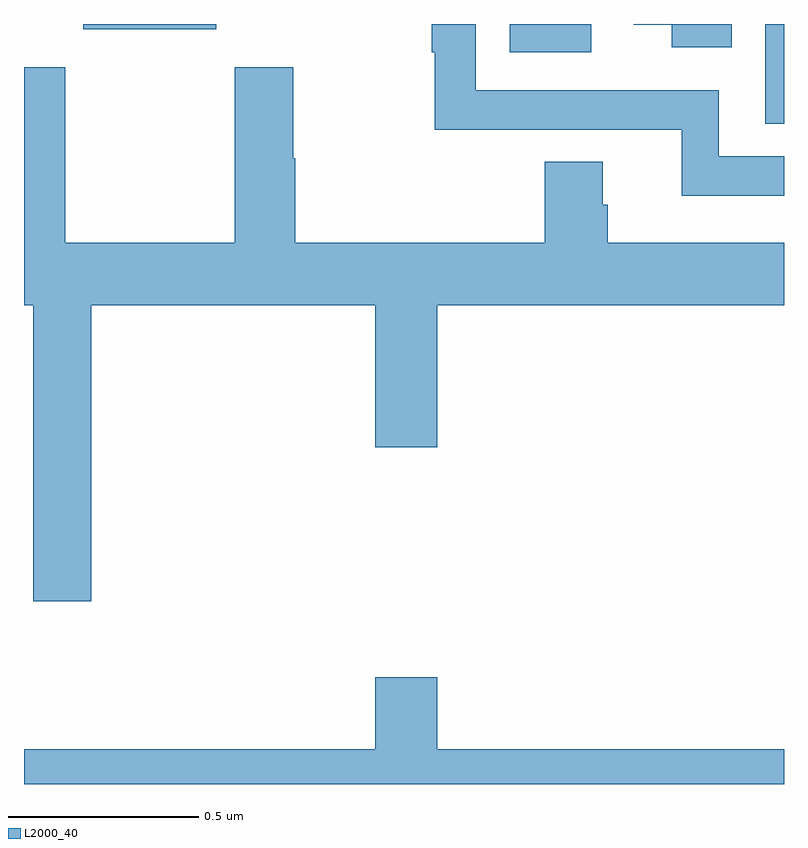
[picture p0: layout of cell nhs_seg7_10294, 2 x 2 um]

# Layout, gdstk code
import gdstk
lib = gdstk.Library(unit=1e-6, precision=1e-09)
def R(c, l, rs):  # rectangles x0, y0, x1, y1
    for r in rs: c.add(gdstk.rectangle(r[:2], r[2:], *l))
def P(c, l, *ps):  # polygons
    for p in ps: c.add(gdstk.Polygon(p, *l))
L2000_40 = (2000, 40)

nhs_seg7_10294 = lib.new_cell('nhs_seg7_10294')
R(nhs_seg7_10294, L2000_40, [(249.951,1023.737,250,1024), (249.278,1023.926,249.493,1024), (248.156,1023.986,248.506,1024)])
P(nhs_seg7_10294, L2000_40, [(249.862,1024),(249.605,1024),(249.605,1023.998),(249.704,1023.998),(249.704,1023.939),(249.862,1023.939)],
  [(250,1023.652),(249.828,1023.652),(249.828,1023.826),(249.189,1023.826),(249.189,1024),(249.073,1024),(249.073,1023.926),(249.081,1023.926),(249.081,1023.722),(249.731,1023.722),(249.731,1023.548),(250,1023.548)],
  [(248.177,1023.26),(248.924,1023.26),(248.924,1022.886),(249.088,1022.886),(249.088,1023.26),(250,1023.26),(250,1023.424),(249.536,1023.424),(249.536,1023.525),(249.523,1023.525),(249.523,1023.637),(249.371,1023.637),(249.371,1023.424),(248.714,1023.424),(248.714,1023.647),(248.709,1023.647),(248.709,1023.886),(248.554,1023.886),(248.554,1023.424),(248.109,1023.424),(248.109,1023.886),(248,1023.886),(248,1023.26),(248.024,1023.26),(248.024,1022.481),(248.177,1022.481)],
  [(250,1022.092),(249.088,1022.092),(249.088,1022.281),(248.924,1022.281),(248.924,1022.092),(248,1022.092),(248,1022),(250,1022)])

lib.write_gds('nhs_seg7_10294.gds')
